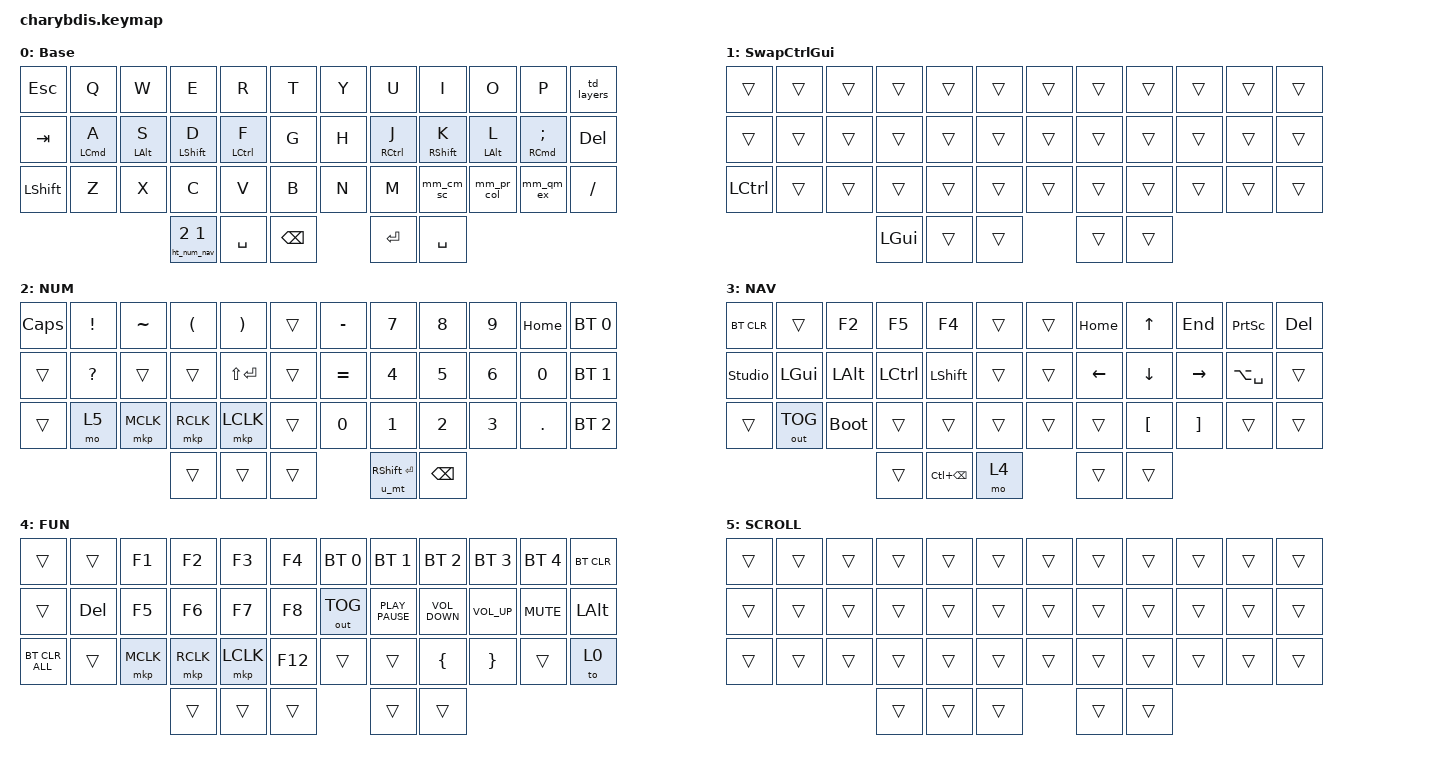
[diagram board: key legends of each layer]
/* upstream bindings and behaviors */
#include <behaviors.dtsi>
#include <dt-bindings/zmk/bt.h>
#include <dt-bindings/zmk/keys.h>
#include <dt-bindings/zmk/mouse.h>
#include <dt-bindings/zmk/outputs.h>
#include <behaviors/mouse_keys.dtsi>
#include <dt-bindings/zmk/ext_power.h>

/* local overlays */
#include "macros.dtsi"
#include "behaviors.dtsi"
#include "combos.dtsi"

/ {
/* --- KEYMAP CONFIG --- */
// ╭──────┬──────┬──────┬──────┬──────┬──────╮  ╭──────┬──────┬──────┬──────┬──────┬──────╮
//    00     01     02     03    04      05        06     07     08     09     10     11
// ├──────┼──────┼──────┼──────┼──────┼──────┤  ├──────┼──────┼──────┼──────┼──────┼──────┤
//    12     13     14     15    16      17        18     19     20     21     22     23
// ├──────┼──────┼──────┼──────┼──────┼──────┤  ├──────┼──────┼──────┼──────┼──────┼──────┤
//    24     25     26     27    28      29        30     31     32     33     34     35
// ╰──────┴──────┴──────┼──────┼──────┼──────┤  ├──────┼──────┼──────┴──────┴──────┴──────╯
//                         36     37     38        39     40
//                      ╰──────┴──────┴──────╯  ╰──────┴──────╯
// #define BASE    0
// #define NUM     1
// #define NAV     2
// #define MOUSE   3
// #define SYM     4
// #define EXTRAS  6
// #define SLOW    7
// #define SCROLL  8

    keymap {
        compatible = "zmk,keymap";
        BASE {
            display-name = "Base";
            bindings = <
// ╭───────────────┬────────────────┬────────────────┬─────────────────┬─────────────────┬──────╮  ╭──────┬──────────────────┬──────────────────┬─────────────────┬────────────────────────┬─────────────╮
    &kp ESC         &kp Q            &kp W            &kp E             &kp R             &kp T     &kp Y  &kp U              &kp I              &kp O             &kp P                     &td_layers
// ├───────────────┼────────────────┼────────────────┼─────────────────┼─────────────────┼──────┤  ├──────┼──────────────────┼──────────────────┼─────────────────┼────────────────────────┼─────────────┤
    &kp TAB         &ht_left LCMD A  &ht_left LALT S  &ht_left LSHFT D  &ht_left LCTRL F  &kp G     &kp H  &ht_right RCTRL J  &ht_right RSHFT K  &ht_right LALT L  &ht_right RCMD SEMICOLON  &kp DEL
// ├───────────────┼────────────────┼────────────────┼─────────────────┼─────────────────┼──────┤  ├──────┼──────────────────┼──────────────────┼─────────────────┼────────────────────────┼─────────────┤
    &kp LSHIFT      &kp Z            &kp X            &kp C             &kp V             &kp B     &kp N  &kp M              &mm_cm_sc          &mm_pr_col        &mm_qm_ex                 &kp FSLH
// ╰───────────────┴────────────────┴────────────────┼─────────────────┼─────────────────┼──────┤  ├──────┼──────────────────┼──────────────────┴─────────────────┴────────────────────────┴─────────────╯
                                                             &ht_num_nav 2 1   &kp SPACE  &kp BACKSPACE   &kp ENTER  &kp SPACE
                                                         // ╰───────────────┴─────────────┴────────────────╯  ╰──────────────┴──────────────╯
                                                         //   Tap: NUM (1)   Hold: NAV (2)    Space           Enter          Space
            >;
        };

        SwapCtrlGui {
            bindings = <
&trans            &trans  &trans  &trans        &trans  &trans    &trans  &trans  &trans  &trans  &trans  &trans
&trans            &trans  &trans  &trans        &trans  &trans    &trans  &trans  &trans  &trans  &trans  &trans
&kp LEFT_CONTROL  &trans  &trans  &trans        &trans  &trans    &trans  &trans  &trans  &trans  &trans  &trans
                                  &kp LEFT_GUI  &trans  &trans    &trans  &trans
            >;
        };

        NUM {
            bindings = <
&kp CAPSLOCK  &kp EXCLAMATION  &kp TILDE  &kp LEFT_PARENTHESIS  &kp RIGHT_PARENTHESIS  &trans    &kp MINUS                &kp N7         &kp N8        &kp N9        &kp HOME    &bt BT_SEL 0
&trans        &kp QUESTION     &trans     &trans                &kp LS(ENTER)          &trans    &kp EQUAL                &kp NUMBER_4   &kp N5        &kp NUMBER_6  &kp N0      &bt BT_SEL 1
&trans        &mo 5            &mkp MCLK  &mkp RCLK             &mkp LCLK              &trans    &kp N0                   &kp NUMBER_1   &kp NUMBER_2  &kp NUMBER_3  &kp PERIOD  &bt BT_SEL 2
                                          &trans                &trans                 &trans    &u_mt RIGHT_SHIFT ENTER  &kp BACKSPACE
            >;
        };

        NAV {
            bindings = <
&bt BT_CLR      &trans        &kp F2        &kp F5            &kp F4             &trans    &trans  &kp HOME        &kp UP_ARROW      &kp END            &kp PRINTSCREEN  &kp DEL
&studio_unlock  &kp LEFT_GUI  &kp LEFT_ALT  &kp LEFT_CONTROL  &kp LEFT_SHIFT     &trans    &trans  &kp LEFT_ARROW  &kp DOWN          &kp RIGHT          &kp LA(SPACE)    &trans
&trans          &out OUT_TOG  &bootloader   &trans            &trans             &trans    &trans  &trans          &kp LEFT_BRACKET  &kp RIGHT_BRACKET  &trans           &trans
                                            &trans            &kp LC(BACKSPACE)  &mo 4     &trans  &trans
            >;
        };

        FUN {
            bindings = <
&trans          &trans   &kp F1     &kp F2     &kp F3     &kp F4     &bt BT_SEL 0  &bt BT_SEL 1      &bt BT_SEL 2       &bt BT_SEL 3     &bt BT_SEL 4  &bt BT_CLR
&trans          &kp DEL  &kp F5     &kp F6     &kp F7     &kp F8     &out OUT_TOG  &kp K_PLAY_PAUSE  &kp C_VOLUME_DOWN  &kp C_VOLUME_UP  &kp C_MUTE    &kp LALT
&bt BT_CLR_ALL  &trans   &mkp MCLK  &mkp RCLK  &mkp LCLK  &kp F12    &trans        &trans            &kp LEFT_BRACE     &kp RIGHT_BRACE  &trans        &to 0
                                    &trans     &trans     &trans     &trans        &trans
            >;
        };

        SCROLL {
            bindings = <
&trans  &trans  &trans  &trans  &trans  &trans    &trans  &trans  &trans  &trans  &trans  &trans
&trans  &trans  &trans  &trans  &trans  &trans    &trans  &trans  &trans  &trans  &trans  &trans
&trans  &trans  &trans  &trans  &trans  &trans    &trans  &trans  &trans  &trans  &trans  &trans
                        &trans  &trans  &trans    &trans  &trans
            >;
        };
    };
};
